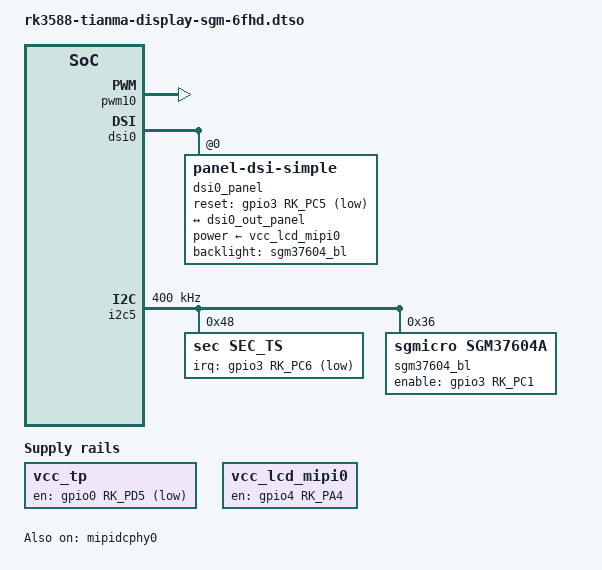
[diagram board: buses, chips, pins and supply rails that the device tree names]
/dts-v1/;
/plugin/;

#include <dt-bindings/gpio/gpio.h>
#include <dt-bindings/interrupt-controller/irq.h>
#include <dt-bindings/pinctrl/rockchip.h>
#include <dt-bindings/soc/rockchip,vop2.h>
#include <dt-bindings/display/drm_mipi_dsi.h>

/ {
	compatible = "radxa,rock-5t";

	vcc_tp: vcc-tp {
		status = "okay";
		regulator-name = "vcc_tp";
		compatible = "regulator-fixed";
		gpio = <&gpio0 RK_PD5 GPIO_ACTIVE_LOW>;
		enable-active-low;
		regulator-boot-on;
		regulator-always-on;
	};

	vcc_lcd_mipi0: vcc-lcd-mipi0 {
		status = "okay";
		compatible = "regulator-fixed";
		regulator-name = "vcc_lcd_mipi0";
		gpio = <&gpio4 RK_PA4 GPIO_ACTIVE_HIGH>;
		enable-active-high;
		regulator-boot-on;
		regulator-always-on;
		regulator-state-mem {
			regulator-off-in-suspend;
		};
	};
};

&pwm10 {
	status = "okay";
	pinctrl-names = "active";
	pinctrl-0 = <&pwm10m2_pins>;
};

&dsi0 {
	status = "okay";
	#address-cells = <1>;
	#size-cells = <0>;

	dsi0_panel: panel@0 {
		status = "okay";
		compatible = "panel-dsi-simple";
		reg = <0>;
		backlight = <&sgm37604_bl>;
		power-supply = <&vcc_lcd_mipi0>;
		reset-gpios = <&gpio3 RK_PC5 GPIO_ACTIVE_LOW>;
		pinctrl-names = "default";
		pinctrl-0 = <&dsi0_lcd_rst_gpio>;

		prepare-delay-ms = <40>;
		reset-delay-ms = <60>;
		init-delay-ms = <80>;
		enable-delay-ms = <60>;
		disable-delay-ms = <20>;
		unprepare-delay-ms = <20>;

		width-mm = <74>;
		height-mm = <133>;

		dsi,flags = <(MIPI_DSI_MODE_VIDEO | MIPI_DSI_MODE_VIDEO_BURST | MIPI_DSI_MODE_LPM | MIPI_DSI_MODE_EOT_PACKET)>;
		dsi,format = <MIPI_DSI_FMT_RGB888>;
		dsi,lanes = <4>;

		panel-init-sequence = [
		05 78 01 11
		05 0A 01 29
		];

		panel-exit-sequence = [
		05 10 01 28
		05 78 01 10
		];

		display-timings {
			native-mode = <&timing0>;
			timing0: timing0 {
				clock-frequency = <157000000>;
				hactive = <1080>;
				hfront-porch = <115>;
				hback-porch = <13>;
				hsync-len = <3>;
				vactive = <2160>;
				vfront-porch = <10>;
				vback-porch = <10>;
				vsync-len = <2>;
				hsync-active = <0>;
				vsync-active = <0>;
				de-active = <0>;
				pixelclk-active = <0>;
			};
		};

		port {
			mipi_panel_in: endpoint {
				remote-endpoint = <&dsi0_out_panel>;
			};
		};
	};
};

&dsi0_in {
	dsi0_in_vp3: endpoint {
		remote-endpoint = <&vp3_out_dsi0>;
	};
};

&dsi0_out {
	dsi0_out_panel: endpoint {
		remote-endpoint = <&mipi_panel_in>;
	};
};

&mipidcphy0 {
	status = "okay";
};

&vp3 {
	#address-cells = <1>;
	#size-cells = <0>;

	vp3_out_dsi0: endpoint@ROCKCHIP_VOP2_EP_MIPI0 {
		reg = <ROCKCHIP_VOP2_EP_MIPI0>;
		remote-endpoint = <&dsi0_in_vp3>;
	};
};

&i2c5 {
	status = "okay";
	pinctrl-names = "default";
	pinctrl-0 = <&i2c5m2_xfer>;
	clock-frequency = <400000>;
	#address-cells = <1>;
	#size-cells = <0>;

	sec_ts: sec_ts@48 {
		status = "okay";
		compatible = "sec,sec_ts";
		reg = <0x48>;
		pinctrl-names = "default";
		pinctrl-0 = <&ts_irq>;
		sec,irq_gpio = <&gpio3 RK_PC6 GPIO_ACTIVE_LOW>;
		sec,max_coords = <1080>, <2160>;
	};

	sgm37604_bl: backlight@36 {
		status = "okay";
		compatible = "sgmicro,sgm37604a";
		reg = <0x36>;
		sgmicro,led-channels = <0x07>;
		sgmicro,max-current = <0>;
		default-brightness-level = <30>;
		enable-gpios = <&gpio3 RK_PC1 GPIO_ACTIVE_HIGH>;
	};
};

&pinctrl {
	dsi0-lcd {
		dsi0_lcd_rst_gpio: dsi0-lcd-rst-gpio {
			rockchip,pins = <3 RK_PC5 RK_FUNC_GPIO &pcfg_pull_up>;
		};
	};
	ts {
		ts_irq: ts_irq {
			rockchip,pins =
			<3 RK_PC6 RK_FUNC_GPIO &pcfg_pull_up>;//TP_INT_L
		};
	};
};
